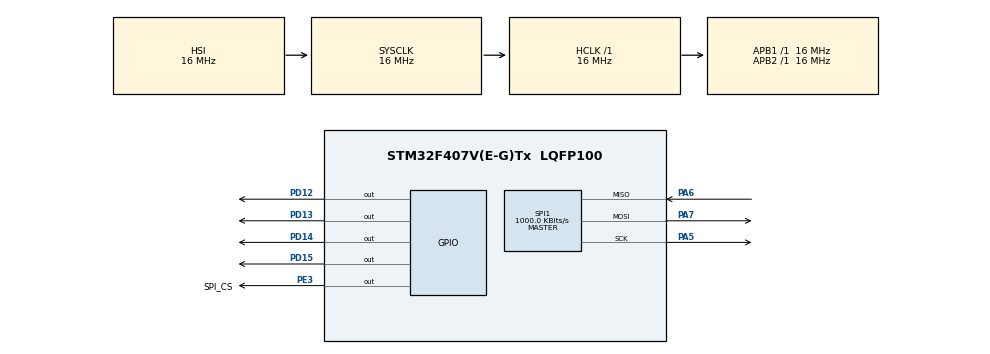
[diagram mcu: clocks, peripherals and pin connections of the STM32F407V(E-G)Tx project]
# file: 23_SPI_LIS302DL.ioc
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Mcu.Family=STM32F4
Mcu.Name=STM32F407V(E-G)Tx
Mcu.Package=LQFP100
NVIC.PriorityGroup=NVIC_PRIORITYGROUP_4
PA5.Mode=Full_Duplex_Master
PA5.Signal=SPI1_SCK
PA6.Mode=Full_Duplex_Master
PA6.Signal=SPI1_MISO
PA7.Mode=Full_Duplex_Master
PA7.Signal=SPI1_MOSI
PD12.Signal=GPIO_Output
PD13.Signal=GPIO_Output
PD14.Signal=GPIO_Output
PD15.Signal=GPIO_Output
PE3.GPIO_Label=SPI_CS
PE3.PinState=GPIO_PIN_SET
PE3.Signal=GPIO_Output
ProjectManager.HeapSize=0x200
ProjectManager.StackSize=0x400
ProjectManager.TargetToolchain=STM32CubeIDE
RCC.AHBFreq_Value=16000000
RCC.APB1Freq_Value=16000000
RCC.APB2Freq_Value=16000000
RCC.CortexFreq_Value=16000000
RCC.HSE_VALUE=25000000
RCC.HSI_VALUE=16000000
RCC.LSE_VALUE=32768
RCC.SYSCLKFreq_VALUE=16000000
RCC.VCOOutputFreq_Value=192000000
SPI1.BaudRatePrescaler=SPI_BAUDRATEPRESCALER_16
SPI1.CalculateBaudRate=1000.0 KBits/s
SPI1.Direction=SPI_DIRECTION_2LINES
SPI1.Mode=SPI_MODE_MASTER
SPI1.VirtualType=VM_MASTER
board=custom

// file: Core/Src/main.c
/* USER CODE BEGIN Header */
/**
  ******************************************************************************
  * @file           : main.c
  * @brief          : Main program body
  ******************************************************************************
  * @attention
  *
  * Copyright (c) 2026 STMicroelectronics.
  * All rights reserved.
  *
  * This software is licensed under terms that can be found in the LICENSE file
  * in the root directory of this software component.
  * If no LICENSE file comes with this software, it is provided AS-IS.
  *
  ******************************************************************************
  */
/* USER CODE END Header */
#include "main.h"

SPI_HandleTypeDef hspi1;

/* USER CODE BEGIN PV */

int16_t X_Axis, Y_Axis, Z_Axis;

/* USER CODE END PV */

void SystemClock_Config(void);
static void MX_GPIO_Init(void);
static void MX_SPI1_Init(void);

/* USER CODE BEGIN 0 */

void SPI_Write_MEMS(uint8_t address, uint8_t writeData){

	uint8_t txData[2] = {0};

	txData[0] = address & 0x7F;
	txData[1] = writeData;

	// 1 - CS -> low
	HAL_GPIO_WritePin(SPI_CS_GPIO_Port, SPI_CS_Pin, GPIO_PIN_RESET);

	// 2 - Send address of read place
	HAL_SPI_Transmit(&hspi1, txData, 2, 1000);

	// 3 - CS -> high
	HAL_GPIO_WritePin(SPI_CS_GPIO_Port, SPI_CS_Pin, GPIO_PIN_SET);

}

uint8_t SPI_Read_MEMS(uint8_t address){

	uint8_t txData[1] = {0},rxData[1] = {0};

	txData[0] = address | 0x80;

	// 1 - CS -> low
	HAL_GPIO_WritePin(SPI_CS_GPIO_Port, SPI_CS_Pin, GPIO_PIN_RESET);

	// 2 - Send address of read place
	HAL_SPI_Transmit(&hspi1, txData, 1, 1000);

	// 3 - Get data
	HAL_SPI_Receive(&hspi1, rxData, 1, 1000);

	// 4 - CS -> high
	HAL_GPIO_WritePin(SPI_CS_GPIO_Port, SPI_CS_Pin, GPIO_PIN_SET);

	return rxData[0];
}

/* USER CODE END 0 */

int main(void)
{

  /* MCU Configuration--------------------------------------------------------*/

  /* Reset of all peripherals, Initializes the Flash interface and the Systick. */
  HAL_Init();

  /* Configure the system clock */
  SystemClock_Config();

  /* Initialize all configured peripherals */
  MX_GPIO_Init();
  MX_SPI1_Init();
  /* USER CODE BEGIN 2 */

  uint8_t whoami = 0;

  whoami = SPI_Read_MEMS(0x0F);

  uint8_t accCtrlAdr = 0x57; // CTRL_REG4 : ODR = 0 1 0 1 (50HZ) BDU = 0 Zen = 1 Yen = 1 Xen = 1;

  SPI_Write_MEMS(0x20, accCtrlAdr);

  /* USER CODE END 2 */

  /* Infinite loop */
  while (1)
  {

    /* USER CODE BEGIN 3 */

	  uint8_t Xhi, Xlo, Yhi, Ylo, Zhi, Zlo = 0;

	  Xlo = SPI_Read_MEMS(0x28);
	  Xhi = SPI_Read_MEMS(0x29);
	  Ylo = SPI_Read_MEMS(0x2A);
	  Yhi = SPI_Read_MEMS(0x2B);
	  Zlo = SPI_Read_MEMS(0x2C);
	  Zhi = SPI_Read_MEMS(0x2D);

	  X_Axis = (Xhi << 8) | Xlo;
	  Y_Axis = (Yhi << 8) | Ylo;
	  Z_Axis = (Zhi << 8) | Zlo;

	  //HAL_Delay(1);

  }
  /* USER CODE END 3 */
}

void SystemClock_Config(void)
{
  RCC_OscInitTypeDef RCC_OscInitStruct = {0};
  RCC_ClkInitTypeDef RCC_ClkInitStruct = {0};

  /** Configure the main internal regulator output voltage
  */
  __HAL_RCC_PWR_CLK_ENABLE();
  __HAL_PWR_VOLTAGESCALING_CONFIG(PWR_REGULATOR_VOLTAGE_SCALE1);

  /** Initializes the RCC Oscillators according to the specified parameters
  * in the RCC_OscInitTypeDef structure.
  */
  RCC_OscInitStruct.OscillatorType = RCC_OSCILLATORTYPE_HSI;
  RCC_OscInitStruct.HSIState = RCC_HSI_ON;
  RCC_OscInitStruct.HSICalibrationValue = RCC_HSICALIBRATION_DEFAULT;
  RCC_OscInitStruct.PLL.PLLState = RCC_PLL_NONE;
  if (HAL_RCC_OscConfig(&RCC_OscInitStruct) != HAL_OK)
  {
    Error_Handler();
  }

  /** Initializes the CPU, AHB and APB buses clocks
  */
  RCC_ClkInitStruct.ClockType = RCC_CLOCKTYPE_HCLK|RCC_CLOCKTYPE_SYSCLK
                              |RCC_CLOCKTYPE_PCLK1|RCC_CLOCKTYPE_PCLK2;
  RCC_ClkInitStruct.SYSCLKSource = RCC_SYSCLKSOURCE_HSI;
  RCC_ClkInitStruct.AHBCLKDivider = RCC_SYSCLK_DIV1;
  RCC_ClkInitStruct.APB1CLKDivider = RCC_HCLK_DIV1;
  RCC_ClkInitStruct.APB2CLKDivider = RCC_HCLK_DIV1;

  if (HAL_RCC_ClockConfig(&RCC_ClkInitStruct, FLASH_LATENCY_0) != HAL_OK)
  {
    Error_Handler();
  }
}

static void MX_SPI1_Init(void)
{

  /* SPI1 parameter configuration*/
  hspi1.Instance = SPI1;
  hspi1.Init.Mode = SPI_MODE_MASTER;
  hspi1.Init.Direction = SPI_DIRECTION_2LINES;
  hspi1.Init.DataSize = SPI_DATASIZE_8BIT;
  hspi1.Init.CLKPolarity = SPI_POLARITY_LOW;
  hspi1.Init.CLKPhase = SPI_PHASE_1EDGE;
  hspi1.Init.NSS = SPI_NSS_SOFT;
  hspi1.Init.BaudRatePrescaler = SPI_BAUDRATEPRESCALER_16;
  hspi1.Init.FirstBit = SPI_FIRSTBIT_MSB;
  hspi1.Init.TIMode = SPI_TIMODE_DISABLE;
  hspi1.Init.CRCCalculation = SPI_CRCCALCULATION_DISABLE;
  hspi1.Init.CRCPolynomial = 10;
  if (HAL_SPI_Init(&hspi1) != HAL_OK)
  {
    Error_Handler();
  }

}

static void MX_GPIO_Init(void)
{
  GPIO_InitTypeDef GPIO_InitStruct = {0};

  /* GPIO Ports Clock Enable */
  __HAL_RCC_GPIOE_CLK_ENABLE();
  __HAL_RCC_GPIOA_CLK_ENABLE();
  __HAL_RCC_GPIOD_CLK_ENABLE();

  /*Configure GPIO pin Output Level */
  HAL_GPIO_WritePin(SPI_CS_GPIO_Port, SPI_CS_Pin, GPIO_PIN_SET);

  /*Configure GPIO pin Output Level */
  HAL_GPIO_WritePin(GPIOD, GPIO_PIN_12|GPIO_PIN_13|GPIO_PIN_14|GPIO_PIN_15, GPIO_PIN_RESET);

  /*Configure GPIO pin : SPI_CS_Pin */
  GPIO_InitStruct.Pin = SPI_CS_Pin;
  GPIO_InitStruct.Mode = GPIO_MODE_OUTPUT_PP;
  GPIO_InitStruct.Pull = GPIO_NOPULL;
  GPIO_InitStruct.Speed = GPIO_SPEED_FREQ_LOW;
  HAL_GPIO_Init(SPI_CS_GPIO_Port, &GPIO_InitStruct);

  /*Configure GPIO pins : PD12 PD13 PD14 PD15 */
  GPIO_InitStruct.Pin = GPIO_PIN_12|GPIO_PIN_13|GPIO_PIN_14|GPIO_PIN_15;
  GPIO_InitStruct.Mode = GPIO_MODE_OUTPUT_PP;
  GPIO_InitStruct.Pull = GPIO_NOPULL;
  GPIO_InitStruct.Speed = GPIO_SPEED_FREQ_LOW;
  HAL_GPIO_Init(GPIOD, &GPIO_InitStruct);

}

void Error_Handler(void)
{
  __disable_irq();
  while (1)
  {
  }
}
